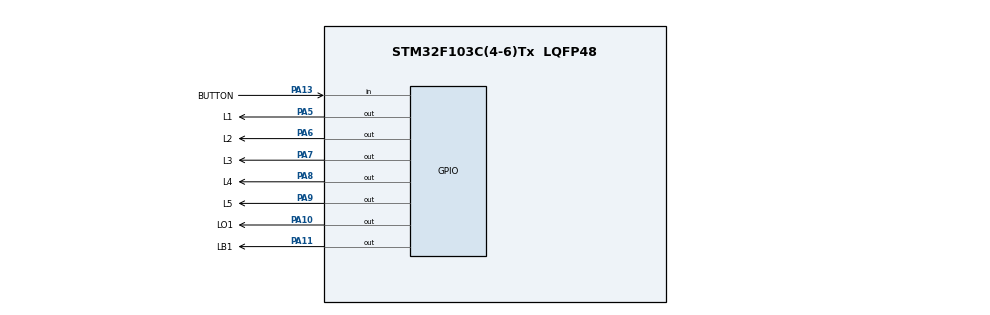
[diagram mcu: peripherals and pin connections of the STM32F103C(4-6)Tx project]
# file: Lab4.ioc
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Mcu.Family=STM32F1
Mcu.Name=STM32F103C(4-6)Tx
Mcu.Package=LQFP48
NVIC.PriorityGroup=NVIC_PRIORITYGROUP_4
NVIC.TIM2_IRQn=true\:0\:0\:false\:false\:true\:true\:true
PA10.GPIO_Label=LO1
PA10.Signal=GPIO_Output
PA11.GPIO_Label=LB1
PA11.Signal=GPIO_Output
PA13.GPIO_Label=BUTTON
PA13.GPIO_PuPd=GPIO_PULLUP
PA13.Signal=GPIO_Input
PA5.GPIO_Label=L1
PA5.Signal=GPIO_Output
PA6.GPIO_Label=L2
PA6.Signal=GPIO_Output
PA7.GPIO_Label=L3
PA7.Signal=GPIO_Output
PA8.GPIO_Label=L4
PA8.Signal=GPIO_Output
PA9.GPIO_Label=L5
PA9.Signal=GPIO_Output
ProjectManager.HeapSize=0x200
ProjectManager.StackSize=0x400
ProjectManager.TargetToolchain=STM32CubeIDE
RCC.APB1Freq_Value=8000000
RCC.APB2Freq_Value=8000000
TIM2.Period=9
TIM2.Prescaler=7999
VP_SYS_VS_ND.Mode=No_Debug
VP_TIM2_VS_ClockSourceINT.Mode=Internal
board=custom

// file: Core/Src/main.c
/* USER CODE BEGIN Header */
/**
  ******************************************************************************
  * @file           : main.c
  * @brief          : Main program body
  ******************************************************************************
  * @attention
  *
  * <h2><center>&copy; Copyright (c) 2022 STMicroelectronics.
  * All rights reserved.</center></h2>
  *
  * This software component is licensed by ST under BSD 3-Clause license,
  * the "License"; You may not use this file except in compliance with the
  * License. You may obtain a copy of the License at:
  *                        opensource.org/licenses/BSD-3-Clause
  *
  ******************************************************************************
  */
/* USER CODE END Header */
#include "main.h"

/* USER CODE BEGIN Includes */
#include "button.h"
#include "scheduler.h"
/* USER CODE END Includes */

TIM_HandleTypeDef htim2;

void SystemClock_Config(void);
static void MX_GPIO_Init(void);
static void MX_TIM2_Init(void);

/* USER CODE BEGIN 0 */
void led1() {
	HAL_GPIO_TogglePin(L1_GPIO_Port, L1_Pin);
}

void led2() {
	HAL_GPIO_TogglePin(L2_GPIO_Port, L2_Pin);
}

void led3() {
	HAL_GPIO_TogglePin(L3_GPIO_Port, L3_Pin);
}

void led4() {
	HAL_GPIO_TogglePin(L4_GPIO_Port, L4_Pin);
}

void led5() {
	HAL_GPIO_TogglePin(L5_GPIO_Port, L5_Pin);
}

void ledo1() {
	HAL_GPIO_TogglePin(LO1_GPIO_Port, LO1_Pin);
}

void ledb1() {
	if (isButtonPressed(0)) {
		HAL_GPIO_TogglePin(LB1_GPIO_Port, LB1_Pin);
	}
}

/* USER CODE END 0 */

int main(void)
{

  /* MCU Configuration--------------------------------------------------------*/

  /* Reset of all peripherals, Initializes the Flash interface and the Systick. */
  HAL_Init();

  /* Configure the system clock */
  SystemClock_Config();

  /* Initialize all configured peripherals */
  MX_GPIO_Init();
  MX_TIM2_Init();
  /* USER CODE BEGIN 2 */
  HAL_TIM_Base_Start_IT(&htim2);
  SCH_Init();
  /* USER CODE END 2 */

  /* Infinite loop */
  /* USER CODE BEGIN WHILE */
  // Normal Task
  SCH_Add_Task(led1, 500, 500);
  SCH_Add_Task(led2, 1000, 1000);
  SCH_Add_Task(led3, 1500, 1500);
  SCH_Add_Task(led4, 2000, 2000);
  SCH_Add_Task(led5, 2500, 2500);
  // "One shot" task
  SCH_Add_Task(ledo1, 2000, 0);
  // Task with Led and Button
  SCH_Add_Task(ledb1, TIME_CYCLE, TIME_CYCLE);
  while (1)
  {
    /* USER CODE END WHILE */

    /* USER CODE BEGIN 3 */
	  SCH_Dispatch_Tasks();
  }
  /* USER CODE END 3 */
}

void SystemClock_Config(void)
{
  RCC_OscInitTypeDef RCC_OscInitStruct = {0};
  RCC_ClkInitTypeDef RCC_ClkInitStruct = {0};

  /** Initializes the RCC Oscillators according to the specified parameters
  * in the RCC_OscInitTypeDef structure.
  */
  RCC_OscInitStruct.OscillatorType = RCC_OSCILLATORTYPE_HSI;
  RCC_OscInitStruct.HSIState = RCC_HSI_ON;
  RCC_OscInitStruct.HSICalibrationValue = RCC_HSICALIBRATION_DEFAULT;
  RCC_OscInitStruct.PLL.PLLState = RCC_PLL_NONE;
  if (HAL_RCC_OscConfig(&RCC_OscInitStruct) != HAL_OK)
  {
    Error_Handler();
  }
  /** Initializes the CPU, AHB and APB buses clocks
  */
  RCC_ClkInitStruct.ClockType = RCC_CLOCKTYPE_HCLK|RCC_CLOCKTYPE_SYSCLK
                              |RCC_CLOCKTYPE_PCLK1|RCC_CLOCKTYPE_PCLK2;
  RCC_ClkInitStruct.SYSCLKSource = RCC_SYSCLKSOURCE_HSI;
  RCC_ClkInitStruct.AHBCLKDivider = RCC_SYSCLK_DIV1;
  RCC_ClkInitStruct.APB1CLKDivider = RCC_HCLK_DIV1;
  RCC_ClkInitStruct.APB2CLKDivider = RCC_HCLK_DIV1;

  if (HAL_RCC_ClockConfig(&RCC_ClkInitStruct, FLASH_LATENCY_0) != HAL_OK)
  {
    Error_Handler();
  }
}

static void MX_TIM2_Init(void)
{

  TIM_ClockConfigTypeDef sClockSourceConfig = {0};
  TIM_MasterConfigTypeDef sMasterConfig = {0};

  htim2.Instance = TIM2;
  htim2.Init.Prescaler = 7999;
  htim2.Init.CounterMode = TIM_COUNTERMODE_UP;
  htim2.Init.Period = 9;
  htim2.Init.ClockDivision = TIM_CLOCKDIVISION_DIV1;
  htim2.Init.AutoReloadPreload = TIM_AUTORELOAD_PRELOAD_DISABLE;
  if (HAL_TIM_Base_Init(&htim2) != HAL_OK)
  {
    Error_Handler();
  }
  sClockSourceConfig.ClockSource = TIM_CLOCKSOURCE_INTERNAL;
  if (HAL_TIM_ConfigClockSource(&htim2, &sClockSourceConfig) != HAL_OK)
  {
    Error_Handler();
  }
  sMasterConfig.MasterOutputTrigger = TIM_TRGO_RESET;
  sMasterConfig.MasterSlaveMode = TIM_MASTERSLAVEMODE_DISABLE;
  if (HAL_TIMEx_MasterConfigSynchronization(&htim2, &sMasterConfig) != HAL_OK)
  {
    Error_Handler();
  }
  /* USER CODE BEGIN TIM2_Init 2 */
  TIME_CYCLE = 1/(8e6/(htim2.Init.Prescaler + 1)/(htim2.Init.Period + 1)) * 1000; // Time cycle
  /* USER CODE END TIM2_Init 2 */

}

static void MX_GPIO_Init(void)
{
  GPIO_InitTypeDef GPIO_InitStruct = {0};

  /* GPIO Ports Clock Enable */
  __HAL_RCC_GPIOA_CLK_ENABLE();

  /*Configure GPIO pin Output Level */
  HAL_GPIO_WritePin(GPIOA, L1_Pin|L2_Pin|L3_Pin|L4_Pin
                          |L5_Pin|LO1_Pin|LB1_Pin, GPIO_PIN_RESET);

  /*Configure GPIO pins : L1_Pin L2_Pin L3_Pin L4_Pin
                           L5_Pin LO1_Pin LB1_Pin */
  GPIO_InitStruct.Pin = L1_Pin|L2_Pin|L3_Pin|L4_Pin
                          |L5_Pin|LO1_Pin|LB1_Pin;
  GPIO_InitStruct.Mode = GPIO_MODE_OUTPUT_PP;
  GPIO_InitStruct.Pull = GPIO_NOPULL;
  GPIO_InitStruct.Speed = GPIO_SPEED_FREQ_LOW;
  HAL_GPIO_Init(GPIOA, &GPIO_InitStruct);

  /*Configure GPIO pin : BUTTON_Pin */
  GPIO_InitStruct.Pin = BUTTON_Pin;
  GPIO_InitStruct.Mode = GPIO_MODE_INPUT;
  GPIO_InitStruct.Pull = GPIO_PULLUP;
  HAL_GPIO_Init(BUTTON_GPIO_Port, &GPIO_InitStruct);

}

/* USER CODE BEGIN 4 */
void HAL_TIM_PeriodElapsedCallback(TIM_HandleTypeDef * htim)
{
	SCH_Update();
	getKeyInput();
}
/* USER CODE END 4 */

void Error_Handler(void)
{
  __disable_irq();
  while (1)
  {
  }
}

/************************ (C) COPYRIGHT STMicroelectronics *****END OF FILE****/
